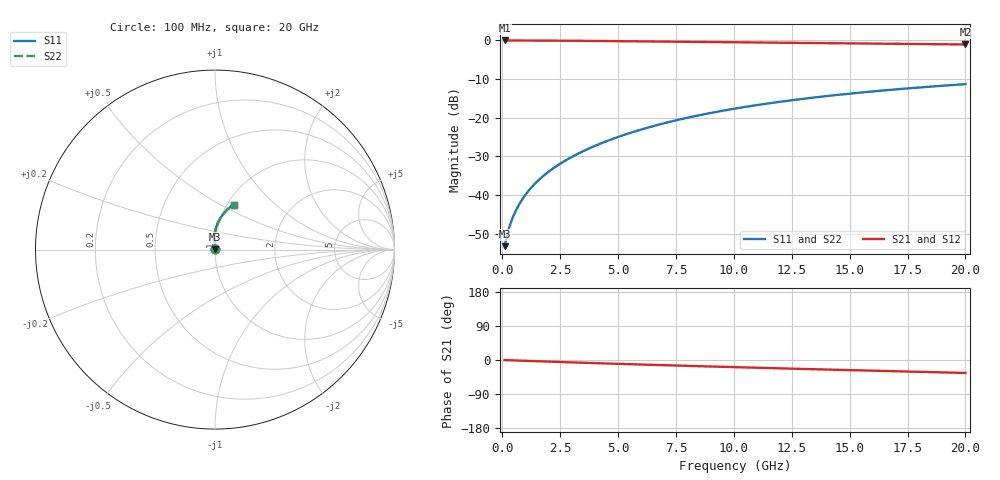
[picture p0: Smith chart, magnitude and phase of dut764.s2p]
! Touchstone file exported from HFSS 2024.1.0
!  File:  C:/UserFiles/LocalFiles/RDL_TSV_Batchsim/temp_RDL_top_764_1779852342.aedt
!  Generated:  11:28:01 AM May 27, 2026
!  Design:  RDL_top
!  Project:  temp_RDL_top_764_1779852342
!  Setup:  Setup1
!  Solution:  Sweep
! Variables:
!  dtsv = 10.80580581um
!  hbump = 3um
!  htsv = 98.4um
!  ldown = 100um
!  lrdl = 492.87um
!  p = 40
!  p1 = 54.23um
!  rhole = 1um
!  t = 450um
!  tdown = 3.915915916um
!  trdl = 3.69um
!  wdown = 15.38538539um
!  wrdl = 29.95um
# GHz S MA R 50.000000
! Terminal data exported
! Port[1] = Box2_T1
! Port[2] = Box2_T2
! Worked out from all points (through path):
!   200 points, 100 MHz to 20 GHz, reference 50 ohm
!   highest |S21| = -0.02 dB at 100 MHz (marker M1); lowest = -1.1 dB at 20 GHz (marker M2)
!   group delay of S21, straight-line fit = 4.67 ps
!   lowest |S11| = -53.2 dB at 100 MHz (marker M3), VSWR 1.00, Z = 50.2 + j0.118 ohm
!   |S11| at or under -10 dB: start of sweep to end of sweep
!   |S22| runs from -53.2 to -11.3 dB; largest |S21 - S12| = 2.6e-15
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0.1  0.002183 32.6  0.9981 -0.2  0.9981 -0.2  0.002183 32.6
! Gamma 0 0 0 0
! Port Impedance 50 0 50 0
0.2  0.002987 48.5  0.998 -0.4  0.998 -0.4  0.002987 48.5
0.3  0.003833 57.0  0.9978 -0.7  0.9978 -0.7  0.003833 57.0
0.4  0.00468 62.7  0.9976 -0.9  0.9976 -0.9  0.00468 62.7
0.5  0.005539 67.0  0.9974 -1.1  0.9974 -1.1  0.00554 67.0
0.6  0.006416 70.3  0.9973 -1.3  0.9973 -1.3  0.006416 70.3
0.8  0.008218 75.3  0.997 -1.7  0.997 -1.7  0.008219 75.3
1  0.01008 78.7  0.9966 -2.1  0.9966 -2.1  0.01008 78.7
1.2  0.01199 81.3  0.9961 -2.6  0.9961 -2.6  0.01199 81.3
1.7  0.01695 85.6  0.9948 -3.6  0.9948 -3.6  0.01694 85.6
2.2  0.02216 88.3  0.993 -4.6  0.993 -4.6  0.02216 88.3
2.8  0.02878 90.4  0.9904 -5.9  0.9904 -5.9  0.02878 90.4
3.5  0.03702 91.9  0.9868 -7.3  0.9868 -7.3  0.03701 91.9
4.2  0.04578 92.6  0.9827 -8.6  0.9827 -8.6  0.04577 92.6
5  0.05639 92.8  0.9778 -10.2  0.9778 -10.2  0.05637 92.7
6.8  0.08205 91.4  0.9658 -13.4  0.9658 -13.4  0.082 91.4
8.4  0.1061 89.1  0.9552 -16.2  0.9552 -16.2  0.106 89.1
10.1  0.1321 86.1  0.9442 -19.0  0.9442 -19.0  0.132 86.1
11.7  0.1564 83.0  0.9342 -21.6  0.9342 -21.6  0.1562 83.0
13.4  0.1817 79.8  0.9239 -24.2  0.9239 -24.2  0.1815 79.7
16.7  0.2285 73.5  0.9046 -29.3  0.9046 -29.3  0.2283 73.5
20  0.2717 67.6  0.8857 -34.2  0.8857 -34.2  0.2715 67.6
